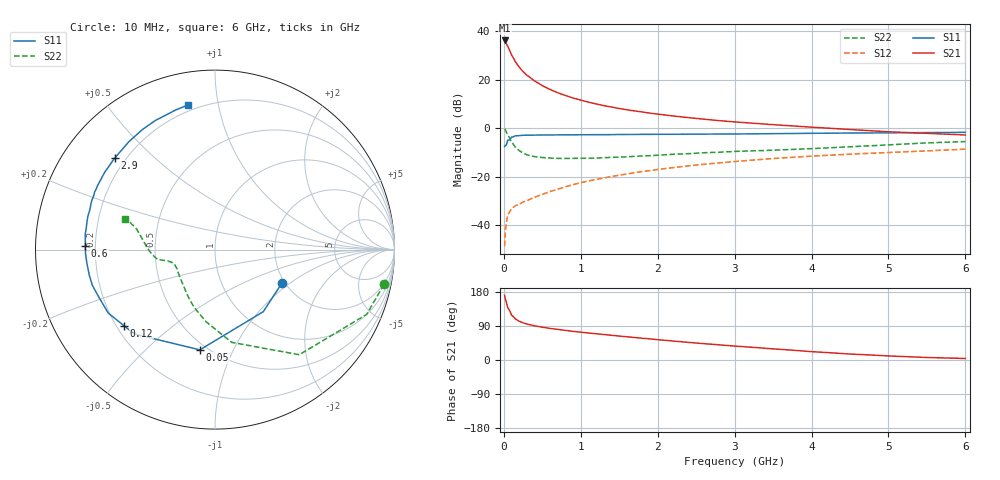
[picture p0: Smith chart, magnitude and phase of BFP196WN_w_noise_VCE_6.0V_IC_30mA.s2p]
! Infineon Technologies  Discrete & RF Semiconductors
! BFP196WN
! VCE =  6.0 V,  IC =  30 mA
! Common Emitter S-Parameters:  Jan 2017
# GHz  S  MA  R  50
!  f  S11  S21  S12  S22
! GHz  MAG  ANG  MAG  ANG  MAG  ANG  MAG  ANG
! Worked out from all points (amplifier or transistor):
!   77 points, 10 MHz to 6 GHz, reference 50 ohm
!   highest |S21| = 36.1 dB at 10 MHz (marker M1)
!   |S21| within 3 dB of that: start of sweep to 60.04 MHz
!   unconditionally stable (mu >= 1): 812.5 MHz to 2.703 GHz
!   at 130 MHz: K = 0.41, MSG = 30.5 dB, |S12| = -32.5 dB
!   at 2.2 GHz: K = 1.02, MAG = 9.7 dB, |S12| = -16.3 dB
!   at 6 GHz: K = 0.90, MSG = 2.9 dB, |S12| = -8.7 dB
!   lowest NFmin = 1.06 dB at 450 MHz
!   S11 on the Smith chart (normalised r, x): 10 MHz: 1.94, -0.87; 50 MHz: 0.46, -0.75; 120 MHz: 0.23, -0.35; 600 MHz: 0.16, +0.01; 2.9 GHz: 0.16, +0.38; 6 GHz: 0.17, +0.81
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0.01  0.4172 -26.2  63.85 170.7  0.0037 81.9  0.9617 -11.6
0.02  0.4381 -52.1  59.95 160.5  0.0078 73.2  0.919 -23.1
0.05  0.565 -98.6  48.88 138.3  0.016 56.9  0.7506 -51.3
0.1  0.6506 -133.8  32.21 118.3  0.0218 47.4  0.525 -79.8
0.12  0.6613 -140.2  28.56 115.0  0.0231 45.4  0.4718 -85.7
0.15  0.6921 -149.3  23.32 108.3  0.0252 42.9  0.4043 -97.2
0.2  0.7 -158.1  17.99 102.3  0.0269 44.5  0.3433 -109.6
0.25  0.7117 -163.8  14.61 98.0  0.0301 47.5  0.3075 -118.2
0.3  0.7146 -168.2  12.28 94.9  0.032 48.8  0.2817 -125.6
0.4  0.7179 -174.0  9.324 90.1  0.0377 53.4  0.2584 -135.4
0.5  0.7216 -178.1  7.483 86.5  0.0431 56.5  0.248 -142.7
0.6  0.7228 178.5  6.255 83.4  0.0494 58.6  0.2417 -148.0
0.7  0.7243 175.7  5.358 80.8  0.055 61.1  0.237 -151.4
0.8  0.7279 173.2  4.697 78.1  0.062 62.6  0.237 -153.9
1.1  0.7309 166.7  3.424 71.3  0.0817 64.3  0.2398 -159.7
1.5  0.7374 159.4  2.532 63.2  0.1069 64.3  0.2522 -163.9
2.1  0.7457 149.6  1.859 51.9  0.1469 62.3  0.2823 -167.4
2.9  0.756 137.4  1.382 38.4  0.1982 57.3  0.3245 -170.7
3.1  0.7588 134.4  1.307 35.4  0.2109 55.7  0.3347 -172.4
4.1  0.7832 119.8  1.023 20.9  0.2698 48.0  0.3842 177.0
5.1  0.8005 108.7  0.827 9.9  0.3192 40.6  0.4602 164.7
6  0.8189 100.7  0.721 4.0  0.3683 34.5  0.5277 160.9
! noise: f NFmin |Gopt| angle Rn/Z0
0.45  1.06  0.46  178  0.04
0.9  1.19  0.52  184  0.05
1.9  2.13  0.68  211  0.13
2.4  2.86  0.69  218  0.24
